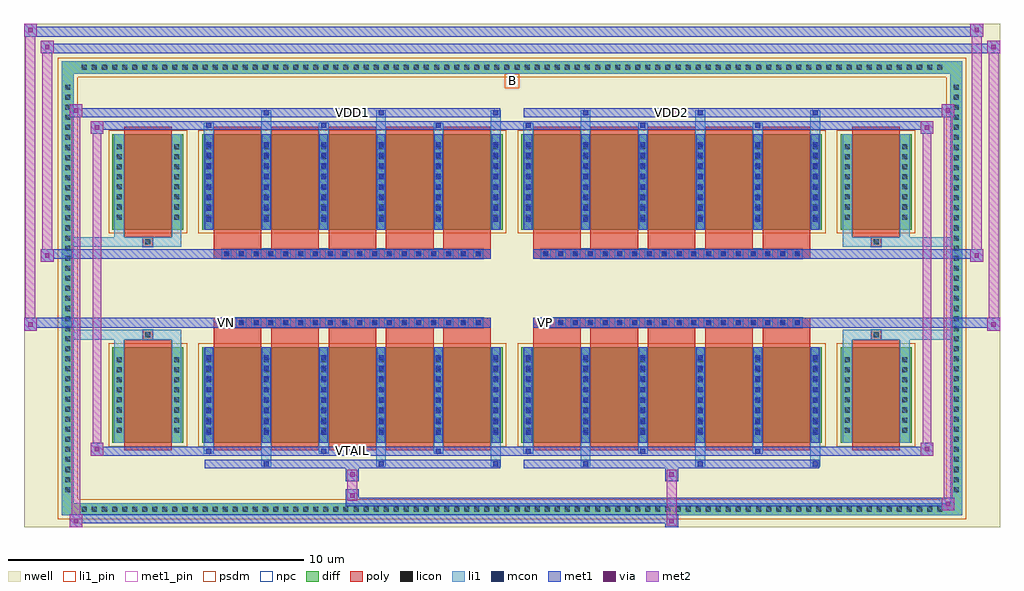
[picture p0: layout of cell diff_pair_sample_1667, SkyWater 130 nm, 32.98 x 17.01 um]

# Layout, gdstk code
import gdstk
lib = gdstk.Library(unit=1e-6, precision=5e-09)
def R(c, l, rs):  # rectangles x0, y0, x1, y1
    for r in rs: c.add(gdstk.rectangle(r[:2], r[2:], *l))
def A(c, l, x, y, w, h, nx, ny, dx, dy):  # array of equal rectangles
    R(c, l, [(x+i*dx, y+j*dy, x+i*dx+w, y+j*dy+h) for i in range(nx) for j in range(ny)])
def P(c, l, *ps):  # polygons
    for p in ps: c.add(gdstk.Polygon(p, *l))
nwell = (64, 20)
diff = (65, 20)
poly = (66, 20)
licon = (66, 44)
li1_pin = (67, 16)
li1 = (67, 20)
mcon = (67, 44)
met1_pin = (68, 16)
met1 = (68, 20)
via = (68, 44)
met2 = (69, 20)
psdm = (94, 20)
npc = (95, 20)

diff_pair_sample_1667 = lib.new_cell('diff_pair_sample_1667')
R(diff_pair_sample_1667, nwell, [(-16.49,-8.07,16.49,8.94), (-13.81,-6.26,-0.01,-0.8), (0.01,-6.26,13.81,-0.8), (-13.81,0.8,-0.01,6.26), (0.01,0.8,13.81,6.26)])
A(diff_pair_sample_1667, diff, -14.655, -7.67, 0.41, 0.41, 86, 2, 0.34, 14.93)
A(diff_pair_sample_1667, diff, -15.22, -7.005, 0.41, 0.41, 1, 41, 0, 0.34)
A(diff_pair_sample_1667, diff, 14.81, -7.005, 0.41, 0.41, 1, 41, 0, 0.34)
R(diff_pair_sample_1667, diff, [(-14.655,-7.67,14.655,-7.26), (-15.22,-7.005,-14.81,7.005), (14.81,-7.005,15.22,7.005), (-13.5,-5.215,-11.11,-1.985), (-10.47,-5.215,-0.32,-1.985), (0.32,-5.215,10.47,-1.985), (11.11,-5.215,13.5,-1.985), (-13.5,1.985,-11.11,5.215), (-10.47,1.985,-0.32,5.215), (0.32,1.985,10.47,5.215), (11.11,1.985,13.5,5.215), (-14.655,7.26,14.655,7.67)])
P(diff_pair_sample_1667, diff, [(15.22,7.67),(-15.22,7.67),(-15.22,-7.26),(-14.81,-7.26),(-14.81,7.26),(14.81,7.26),(14.81,-7.26),(-14.81,-7.26),(-15.22,-7.26),(-15.22,-7.67),(15.22,-7.67)])
A(diff_pair_sample_1667, poly, -10.08, -5.465, 1.61, 3.73, 5, 2, 1.94, 7.2)
A(diff_pair_sample_1667, poly, 0.71, -5.465, 1.61, 3.73, 5, 2, 1.94, 7.2)
A(diff_pair_sample_1667, poly, -10.08, -1.735, 1.61, 0.405, 5, 2, 1.94, 3.065)
A(diff_pair_sample_1667, poly, 0.71, -1.735, 1.61, 0.405, 5, 2, 1.94, 3.065)
A(diff_pair_sample_1667, poly, -9.81, -1.33, 0.33, 0.33, 18, 2, 0.5, 2.33)
A(diff_pair_sample_1667, poly, 0.98, -1.33, 0.33, 0.33, 18, 2, 0.5, 2.33)
R(diff_pair_sample_1667, poly, [(-13.11,-5.465,-11.5,-1.735), (11.5,-5.465,13.11,-1.735), (-12.47,-1.735,-12.14,-1.405), (-12.47,-1.735,-12.14,-1.405), (12.14,-1.735,12.47,-1.405), (12.14,-1.735,12.47,-1.405), (-10.08,-1.33,-0.71,-1), (0.71,-1.33,10.08,-1), (-10.08,1,-0.71,1.33), (0.71,1,10.08,1.33), (-12.47,1.405,-12.14,1.735), (-12.47,1.405,-12.14,1.735), (12.14,1.405,12.47,1.735), (12.14,1.405,12.47,1.735), (-13.11,1.735,-11.5,5.465), (11.5,1.735,13.11,5.465)])
A(diff_pair_sample_1667, licon, -14.535, -7.55, 0.17, 0.17, 86, 2, 0.34, 14.93)
A(diff_pair_sample_1667, licon, -15.1, -6.885, 0.17, 0.17, 1, 41, 0, 0.34)
A(diff_pair_sample_1667, licon, 14.93, -6.885, 0.17, 0.17, 1, 41, 0, 0.34)
A(diff_pair_sample_1667, licon, -13.36, -4.875, 0.17, 0.17, 1, 8, 0, 0.34)
A(diff_pair_sample_1667, licon, -11.42, -4.875, 0.17, 0.17, 1, 8, 0, 0.34)
A(diff_pair_sample_1667, licon, -10.33, -4.875, 0.17, 0.17, 6, 8, 1.94, 0.34)
A(diff_pair_sample_1667, licon, 0.46, -4.875, 0.17, 0.17, 6, 8, 1.94, 0.34)
A(diff_pair_sample_1667, licon, 11.25, -4.875, 0.17, 0.17, 1, 8, 0, 0.34)
A(diff_pair_sample_1667, licon, 13.19, -4.875, 0.17, 0.17, 1, 8, 0, 0.34)
A(diff_pair_sample_1667, licon, -9.73, -1.25, 0.17, 0.17, 18, 2, 0.5, 2.33)
A(diff_pair_sample_1667, licon, 1.06, -1.25, 0.17, 0.17, 18, 2, 0.5, 2.33)
A(diff_pair_sample_1667, licon, -13.36, 2.325, 0.17, 0.17, 1, 8, 0, 0.34)
A(diff_pair_sample_1667, licon, -11.42, 2.325, 0.17, 0.17, 1, 8, 0, 0.34)
A(diff_pair_sample_1667, licon, -10.33, 2.325, 0.17, 0.17, 6, 8, 1.94, 0.34)
A(diff_pair_sample_1667, licon, 0.46, 2.325, 0.17, 0.17, 6, 8, 1.94, 0.34)
A(diff_pair_sample_1667, licon, 11.25, 2.325, 0.17, 0.17, 1, 8, 0, 0.34)
A(diff_pair_sample_1667, licon, 13.19, 2.325, 0.17, 0.17, 1, 8, 0, 0.34)
R(diff_pair_sample_1667, licon, [(-12.39,-1.655,-12.22,-1.485), (12.22,-1.655,12.39,-1.485), (-12.39,1.485,-12.22,1.655), (12.22,1.485,12.39,1.655)])
R(diff_pair_sample_1667, li1_pin, [(-0.25,6.76,0.25,7.26)])
A(diff_pair_sample_1667, li1, -14.615, -7.63, 0.33, 0.33, 86, 2, 0.34, 14.93)
A(diff_pair_sample_1667, li1, -15.18, -6.965, 0.33, 0.33, 1, 41, 0, 0.34)
A(diff_pair_sample_1667, li1, 14.85, -6.965, 0.33, 0.33, 1, 41, 0, 0.34)
A(diff_pair_sample_1667, li1, -8.47, -6.02, 0.33, 0.805, 3, 2, 3.88, 11.235)
A(diff_pair_sample_1667, li1, -8.39, -6.02, 0.17, 0.17, 3, 2, 3.88, 11.87)
A(diff_pair_sample_1667, li1, 2.32, -6.02, 0.33, 0.805, 3, 2, 3.88, 11.235)
A(diff_pair_sample_1667, li1, 2.4, -6.02, 0.17, 0.17, 3, 2, 3.88, 11.87)
A(diff_pair_sample_1667, li1, -10.41, -5.59, 0.33, 0.375, 3, 2, 3.88, 10.805)
A(diff_pair_sample_1667, li1, -10.33, -5.59, 0.17, 0.17, 3, 2, 3.88, 11.01)
A(diff_pair_sample_1667, li1, 0.38, -5.59, 0.33, 0.375, 3, 2, 3.88, 10.805)
A(diff_pair_sample_1667, li1, 0.46, -5.59, 0.17, 0.17, 3, 2, 3.88, 11.01)
A(diff_pair_sample_1667, li1, -10.41, -5.215, 0.33, 3.23, 6, 2, 1.94, 7.2)
A(diff_pair_sample_1667, li1, 0.38, -5.215, 0.33, 3.23, 6, 2, 1.94, 7.2)
A(diff_pair_sample_1667, li1, -13.44, -4.955, 0.33, 0.33, 1, 8, 0, 0.34)
A(diff_pair_sample_1667, li1, -11.5, -4.955, 0.33, 0.33, 1, 8, 0, 0.34)
A(diff_pair_sample_1667, li1, -10.41, -4.955, 0.33, 0.33, 6, 8, 1.94, 0.34)
A(diff_pair_sample_1667, li1, 0.38, -4.955, 0.33, 0.33, 6, 8, 1.94, 0.34)
A(diff_pair_sample_1667, li1, 11.17, -4.955, 0.33, 0.33, 1, 8, 0, 0.34)
A(diff_pair_sample_1667, li1, 13.11, -4.955, 0.33, 0.33, 1, 8, 0, 0.34)
A(diff_pair_sample_1667, li1, -10.33, -4.945, 0.17, 0.17, 6, 8, 1.94, 0.36)
A(diff_pair_sample_1667, li1, -10.33, -4.945, 0.17, 2.69, 6, 2, 1.94, 7.2)
A(diff_pair_sample_1667, li1, 0.46, -4.945, 0.17, 0.17, 6, 8, 1.94, 0.36)
A(diff_pair_sample_1667, li1, 0.46, -4.945, 0.17, 2.69, 6, 2, 1.94, 7.2)
A(diff_pair_sample_1667, li1, -9.81, -1.33, 0.33, 0.33, 18, 2, 0.5, 2.33)
A(diff_pair_sample_1667, li1, 0.98, -1.33, 0.33, 0.33, 18, 2, 0.5, 2.33)
A(diff_pair_sample_1667, li1, -13.44, 2.245, 0.33, 0.33, 1, 8, 0, 0.34)
A(diff_pair_sample_1667, li1, -11.5, 2.245, 0.33, 0.33, 1, 8, 0, 0.34)
A(diff_pair_sample_1667, li1, -10.41, 2.245, 0.33, 0.33, 6, 8, 1.94, 0.34)
A(diff_pair_sample_1667, li1, 0.38, 2.245, 0.33, 0.33, 6, 8, 1.94, 0.34)
A(diff_pair_sample_1667, li1, 11.17, 2.245, 0.33, 0.33, 1, 8, 0, 0.34)
A(diff_pair_sample_1667, li1, 13.11, 2.245, 0.33, 0.33, 1, 8, 0, 0.34)
A(diff_pair_sample_1667, li1, -10.33, 2.255, 0.17, 0.17, 6, 8, 1.94, 0.36)
A(diff_pair_sample_1667, li1, 0.46, 2.255, 0.17, 0.17, 6, 8, 1.94, 0.36)
R(diff_pair_sample_1667, li1, [(-15.22,-7.67,-14.81,-7.26), (-15.22,-7.67,-14.81,-7.26), (-14.81,-7.67,14.81,-7.26), (14.81,-7.67,15.22,-7.26), (14.81,-7.67,15.22,-7.26), (-15.22,-7.26,-14.81,7.26), (14.81,-7.26,15.22,7.26), (-13.44,-5.215,-13.11,-1.985), (-11.5,-5.215,-11.17,-1.985), (11.17,-5.215,11.5,-1.985), (13.11,-5.215,13.44,-1.985), (-13.44,-1.985,-13.11,-1.405), (-11.5,-1.985,-11.17,-1.405), (11.17,-1.985,11.5,-1.405), (13.11,-1.985,13.44,-1.405), (-15.22,-1.735,-12.47,-1.405), (-13.44,-1.735,-12.47,-1.405), (-12.47,-1.735,-12.14,-1.405), (-12.14,-1.735,-11.17,-1.405), (11.17,-1.735,12.14,-1.405), (12.14,-1.735,12.47,-1.405), (12.14,-1.735,15.22,-1.405), (12.47,-1.735,13.44,-1.405), (-15.22,1.405,-12.47,1.735), (-13.44,1.405,-12.47,1.735), (-13.44,1.405,-13.11,1.985), (-12.47,1.405,-12.14,1.735), (-12.14,1.405,-11.17,1.735), (-11.5,1.405,-11.17,1.985), (11.17,1.405,12.14,1.735), (11.17,1.405,11.5,1.985), (12.14,1.405,12.47,1.735), (12.14,1.405,15.22,1.735), (12.47,1.405,13.44,1.735), (13.11,1.405,13.44,1.985), (-13.44,1.985,-13.11,5.215), (-11.5,1.985,-11.17,5.215), (11.17,1.985,11.5,5.215), (13.11,1.985,13.44,5.215), (-15.22,7.26,-14.81,7.67), (-15.22,7.26,-14.81,7.67), (-14.81,7.26,14.81,7.67), (14.81,7.26,15.22,7.67), (14.81,7.26,15.22,7.67)])
A(diff_pair_sample_1667, mcon, -8.39, -6.02, 0.17, 0.17, 3, 2, 3.88, 11.87)
A(diff_pair_sample_1667, mcon, 2.4, -6.02, 0.17, 0.17, 3, 2, 3.88, 11.87)
A(diff_pair_sample_1667, mcon, -10.33, -5.59, 0.17, 0.17, 3, 2, 3.88, 11.01)
A(diff_pair_sample_1667, mcon, 0.46, -5.59, 0.17, 0.17, 3, 2, 3.88, 11.01)
A(diff_pair_sample_1667, mcon, -10.33, -4.945, 0.17, 0.17, 6, 8, 1.94, 0.36)
A(diff_pair_sample_1667, mcon, 0.46, -4.945, 0.17, 0.17, 6, 8, 1.94, 0.36)
A(diff_pair_sample_1667, mcon, -9.73, -1.25, 0.17, 0.17, 18, 2, 0.5, 2.33)
A(diff_pair_sample_1667, mcon, 1.06, -1.25, 0.17, 0.17, 18, 2, 0.5, 2.33)
A(diff_pair_sample_1667, mcon, -10.33, 2.255, 0.17, 0.17, 6, 8, 1.94, 0.36)
A(diff_pair_sample_1667, mcon, 0.46, 2.255, 0.17, 0.17, 6, 8, 1.94, 0.36)
R(diff_pair_sample_1667, met1_pin, [(-5.53,-5.63,-5.26,-5.36), (-9.78,-1.29,-9.51,-1.02), (1.01,-1.29,1.28,-1.02), (-5.53,5.81,-5.26,6.08), (5.26,5.81,5.53,6.08)])
A(diff_pair_sample_1667, met1, -8.45, -6.08, 0.29, 0.29, 3, 2, 3.88, 11.87)
A(diff_pair_sample_1667, met1, 2.34, -6.08, 0.29, 0.29, 3, 2, 3.88, 11.87)
A(diff_pair_sample_1667, met1, -10.39, -5.65, 0.29, 0.29, 3, 2, 3.88, 11.01)
A(diff_pair_sample_1667, met1, 0.4, -5.65, 0.29, 0.29, 3, 2, 3.88, 11.01)
A(diff_pair_sample_1667, met1, -10.39, -5.215, 0.29, 3.23, 6, 2, 1.94, 7.2)
A(diff_pair_sample_1667, met1, 0.4, -5.215, 0.29, 3.23, 6, 2, 1.94, 7.2)
A(diff_pair_sample_1667, met1, -10.39, -5.005, 0.29, 0.29, 6, 8, 1.94, 0.36)
A(diff_pair_sample_1667, met1, 0.4, -5.005, 0.29, 0.29, 6, 8, 1.94, 0.36)
A(diff_pair_sample_1667, met1, -9.79, -1.31, 0.29, 0.29, 18, 2, 0.5, 2.33)
A(diff_pair_sample_1667, met1, 1, -1.31, 0.29, 0.29, 18, 2, 0.5, 2.33)
A(diff_pair_sample_1667, met1, -10.39, 2.195, 0.29, 0.29, 6, 8, 1.94, 0.36)
A(diff_pair_sample_1667, met1, 0.4, 2.195, 0.29, 0.29, 6, 8, 1.94, 0.36)
R(diff_pair_sample_1667, met1, [(-14.95,-8.07,-14.52,-7.64), (5.18,-8.07,5.61,-7.64), (-14.95,-7.93,5.61,-7.64), (14.52,-7.5,14.95,-7.07), (-5.61,-7.36,14.95,-7.07), (-5.61,-7.22,-5.18,-6.79), (-5.61,-6.51,-5.18,-6.08), (5.18,-6.51,5.61,-6.08), (-10.39,-6.08,-0.4,-5.79), (0.4,-6.08,10.39,-5.79), (-14.24,-5.65,-13.81,-5.22), (-14.24,-5.65,-10.39,-5.36), (-10.39,-5.65,-0.4,-5.36), (-0.4,-5.65,0.4,-5.36), (0.4,-5.65,10.39,-5.36), (10.39,-5.65,14.24,-5.36), (13.81,-5.65,14.24,-5.22), (-16.49,-1.43,-16.06,-1), (16.06,-1.43,16.49,-1), (-16.49,-1.33,-0.71,-1), (-10.08,-1.33,-0.71,-1), (0.71,-1.33,10.08,-1), (0.71,-1.33,16.49,-1), (-15.92,0.9,-15.49,1.33), (15.49,0.9,15.92,1.33), (-15.92,1,-10.08,1.33), (-10.08,1,-0.71,1.33), (0.71,1,10.08,1.33), (10.08,1,15.92,1.33), (-14.24,5.22,-13.81,5.65), (13.81,5.22,14.24,5.65), (-14.24,5.36,-10.39,5.65), (-10.39,5.36,-0.4,5.65), (-0.4,5.36,0.4,5.65), (0.4,5.36,10.39,5.65), (10.39,5.36,14.24,5.65), (-14.95,5.79,-14.52,6.22), (-14.95,5.79,-10.39,6.08), (-10.39,5.79,-0.4,6.08), (0.4,5.79,10.39,6.08), (10.39,5.79,14.95,6.08), (14.52,5.79,14.95,6.22), (-15.92,7.94,-15.49,8.37), (-15.92,7.94,-13.81,8.27), (-13.81,7.94,13.81,8.27), (13.81,7.94,16.49,8.27), (16.06,7.94,16.49,8.37), (-16.49,8.51,-16.06,8.94), (-16.49,8.51,-13.81,8.84), (-13.81,8.51,13.81,8.84), (13.81,8.51,15.92,8.84), (15.49,8.51,15.92,8.94)])
R(diff_pair_sample_1667, via, [(-14.81,-7.93,-14.66,-7.78), (5.32,-7.93,5.47,-7.78), (14.66,-7.36,14.81,-7.21), (-5.47,-7.08,-5.32,-6.93), (-5.47,-6.37,-5.32,-6.22), (5.32,-6.37,5.47,-6.22), (-14.1,-5.51,-13.95,-5.36), (13.95,-5.51,14.1,-5.36), (-16.35,-1.29,-16.2,-1.14), (16.2,-1.29,16.35,-1.14), (-15.78,1.04,-15.63,1.19), (15.63,1.04,15.78,1.19), (-14.1,5.36,-13.95,5.51), (13.95,5.36,14.1,5.51), (-14.81,5.93,-14.66,6.08), (14.66,5.93,14.81,6.08), (-15.78,8.08,-15.63,8.23), (16.2,8.08,16.35,8.23), (-16.35,8.65,-16.2,8.8), (15.63,8.65,15.78,8.8)])
R(diff_pair_sample_1667, met2, [(-14.95,-8.07,-14.52,-7.64), (-14.88,-8.07,-14.59,6.22), (-14.59,-8.07,-14.52,-7.64), (-14.9,-8.02,-14.57,-7.69), (5.23,-8.02,5.56,-7.69), (5.23,-7.69,5.56,-6.46), (14.52,-7.5,14.95,-7.07), (14.59,-7.5,14.88,6.22), (14.88,-7.5,14.95,-7.07), (14.57,-7.45,14.9,-7.12), (-5.56,-7.17,-5.23,-6.84), (-5.56,-6.84,-5.23,-6.46), (-5.56,-6.46,-5.23,-6.13), (5.23,-6.46,5.56,-6.13), (-14.24,-5.65,-13.81,-5.22), (-14.17,-5.65,-13.88,5.65), (-13.88,-5.65,-13.81,-5.22), (13.81,-5.65,14.24,-5.22), (13.88,-5.65,14.17,5.65), (14.17,-5.65,14.24,-5.22), (-14.19,-5.6,-13.86,-5.27), (13.86,-5.6,14.19,-5.27), (-16.49,-1.43,-16.06,-1), (-16.44,-1.43,-16.11,8.94), (-16.11,-1.43,-16.06,-1), (16.06,-1.43,16.49,-1), (16.11,-1.43,16.44,8.37), (16.44,-1.43,16.49,-1), (-16.44,-1.38,-16.11,-1.05), (16.11,-1.38,16.44,-1.05), (-15.92,0.9,-15.49,1.33), (-15.87,0.9,-15.54,8.37), (-15.54,0.9,-15.49,1.33), (15.49,0.9,15.92,1.33), (15.54,0.9,15.87,8.94), (15.87,0.9,15.92,1.33), (-15.87,0.95,-15.54,1.28), (15.54,0.95,15.87,1.28), (-14.24,5.22,-13.81,5.65), (-13.88,5.22,-13.81,5.65), (13.81,5.22,14.24,5.65), (14.17,5.22,14.24,5.65), (-14.19,5.27,-13.86,5.6), (13.86,5.27,14.19,5.6), (-14.95,5.79,-14.52,6.22), (-14.59,5.79,-14.52,6.22), (14.52,5.79,14.95,6.22), (14.88,5.79,14.95,6.22), (-14.9,5.84,-14.57,6.17), (14.57,5.84,14.9,6.17), (-15.92,7.94,-15.49,8.37), (-15.54,7.94,-15.49,8.37), (16.06,7.94,16.49,8.37), (16.44,7.94,16.49,8.37), (-15.87,7.99,-15.54,8.32), (16.11,7.99,16.44,8.32), (-16.49,8.51,-16.06,8.94), (-16.11,8.51,-16.06,8.94), (15.49,8.51,15.92,8.94), (15.87,8.51,15.92,8.94), (-16.44,8.56,-16.11,8.89), (15.54,8.56,15.87,8.89)])
R(diff_pair_sample_1667, psdm, [(-13.63,-5.345,-10.98,-1.855), (-10.6,-5.345,-0.19,-1.855), (0.19,-5.345,10.6,-1.855), (10.98,-5.345,13.63,-1.855), (-13.63,1.855,-10.98,5.345), (-10.6,1.855,-0.19,5.345), (0.19,1.855,10.6,5.345), (10.98,1.855,13.63,5.345)])
P(diff_pair_sample_1667, psdm, [(15.35,7.8),(-15.35,7.8),(-15.35,-7.13),(-14.68,-7.13),(-14.68,7.13),(14.68,7.13),(14.68,-7.13),(-14.68,-7.13),(-15.35,-7.13),(-15.35,-7.8),(15.35,-7.8)])
A(diff_pair_sample_1667, npc, -9.83, -1.35, 0.37, 0.37, 18, 2, 0.5, 2.33)
A(diff_pair_sample_1667, npc, 0.96, -1.35, 0.37, 0.37, 18, 2, 0.5, 2.33)
R(diff_pair_sample_1667, npc, [(-12.49,-1.755,-12.12,-1.385), (12.12,-1.755,12.49,-1.385), (-9.83,-1.35,-8.96,-0.98), (-9.83,-1.35,-8.96,-0.98), (-9.33,-1.35,-8.46,-0.98), (-9.33,-1.35,-8.46,-0.98), (-8.83,-1.35,-7.96,-0.98), (-8.83,-1.35,-7.96,-0.98), (-8.33,-1.35,-7.46,-0.98), (-8.33,-1.35,-7.46,-0.98), (-7.83,-1.35,-6.96,-0.98), (-7.83,-1.35,-6.96,-0.98), (-7.33,-1.35,-6.46,-0.98), (-7.33,-1.35,-6.46,-0.98), (-6.83,-1.35,-5.96,-0.98), (-6.83,-1.35,-5.96,-0.98), (-6.33,-1.35,-5.46,-0.98), (-6.33,-1.35,-5.46,-0.98), (-5.83,-1.35,-4.96,-0.98), (-5.83,-1.35,-4.96,-0.98), (-5.33,-1.35,-4.46,-0.98), (-5.33,-1.35,-4.46,-0.98), (-4.83,-1.35,-3.96,-0.98), (-4.83,-1.35,-3.96,-0.98), (-4.33,-1.35,-3.46,-0.98), (-4.33,-1.35,-3.46,-0.98), (-3.83,-1.35,-2.96,-0.98), (-3.83,-1.35,-2.96,-0.98), (-3.33,-1.35,-2.46,-0.98), (-3.33,-1.35,-2.46,-0.98), (-2.83,-1.35,-1.96,-0.98), (-2.83,-1.35,-1.96,-0.98), (-2.33,-1.35,-1.46,-0.98), (-2.33,-1.35,-1.46,-0.98), (-1.83,-1.35,-0.96,-0.98), (-1.83,-1.35,-0.96,-0.98), (0.96,-1.35,1.83,-0.98), (0.96,-1.35,1.83,-0.98), (1.46,-1.35,2.33,-0.98), (1.46,-1.35,2.33,-0.98), (1.96,-1.35,2.83,-0.98), (1.96,-1.35,2.83,-0.98), (2.46,-1.35,3.33,-0.98), (2.46,-1.35,3.33,-0.98), (2.96,-1.35,3.83,-0.98), (2.96,-1.35,3.83,-0.98), (3.46,-1.35,4.33,-0.98), (3.46,-1.35,4.33,-0.98), (3.96,-1.35,4.83,-0.98), (3.96,-1.35,4.83,-0.98), (4.46,-1.35,5.33,-0.98), (4.46,-1.35,5.33,-0.98), (4.96,-1.35,5.83,-0.98), (4.96,-1.35,5.83,-0.98), (5.46,-1.35,6.33,-0.98), (5.46,-1.35,6.33,-0.98), (5.96,-1.35,6.83,-0.98), (5.96,-1.35,6.83,-0.98), (6.46,-1.35,7.33,-0.98), (6.46,-1.35,7.33,-0.98), (6.96,-1.35,7.83,-0.98), (6.96,-1.35,7.83,-0.98), (7.46,-1.35,8.33,-0.98), (7.46,-1.35,8.33,-0.98), (7.96,-1.35,8.83,-0.98), (7.96,-1.35,8.83,-0.98), (8.46,-1.35,9.33,-0.98), (8.46,-1.35,9.33,-0.98), (8.96,-1.35,9.83,-0.98), (8.96,-1.35,9.83,-0.98), (-9.83,0.98,-8.96,1.35), (-9.83,0.98,-8.96,1.35), (-9.33,0.98,-8.46,1.35), (-9.33,0.98,-8.46,1.35), (-8.83,0.98,-7.96,1.35), (-8.83,0.98,-7.96,1.35), (-8.33,0.98,-7.46,1.35), (-8.33,0.98,-7.46,1.35), (-7.83,0.98,-6.96,1.35), (-7.83,0.98,-6.96,1.35), (-7.33,0.98,-6.46,1.35), (-7.33,0.98,-6.46,1.35), (-6.83,0.98,-5.96,1.35), (-6.83,0.98,-5.96,1.35), (-6.33,0.98,-5.46,1.35), (-6.33,0.98,-5.46,1.35), (-5.83,0.98,-4.96,1.35), (-5.83,0.98,-4.96,1.35), (-5.33,0.98,-4.46,1.35), (-5.33,0.98,-4.46,1.35), (-4.83,0.98,-3.96,1.35), (-4.83,0.98,-3.96,1.35), (-4.33,0.98,-3.46,1.35), (-4.33,0.98,-3.46,1.35), (-3.83,0.98,-2.96,1.35), (-3.83,0.98,-2.96,1.35), (-3.33,0.98,-2.46,1.35), (-3.33,0.98,-2.46,1.35), (-2.83,0.98,-1.96,1.35), (-2.83,0.98,-1.96,1.35), (-2.33,0.98,-1.46,1.35), (-2.33,0.98,-1.46,1.35), (-1.83,0.98,-0.96,1.35), (-1.83,0.98,-0.96,1.35), (0.96,0.98,1.83,1.35), (0.96,0.98,1.83,1.35), (1.46,0.98,2.33,1.35), (1.46,0.98,2.33,1.35), (1.96,0.98,2.83,1.35), (1.96,0.98,2.83,1.35), (2.46,0.98,3.33,1.35), (2.46,0.98,3.33,1.35), (2.96,0.98,3.83,1.35), (2.96,0.98,3.83,1.35), (3.46,0.98,4.33,1.35), (3.46,0.98,4.33,1.35), (3.96,0.98,4.83,1.35), (3.96,0.98,4.83,1.35), (4.46,0.98,5.33,1.35), (4.46,0.98,5.33,1.35), (4.96,0.98,5.83,1.35), (4.96,0.98,5.83,1.35), (5.46,0.98,6.33,1.35), (5.46,0.98,6.33,1.35), (5.96,0.98,6.83,1.35), (5.96,0.98,6.83,1.35), (6.46,0.98,7.33,1.35), (6.46,0.98,7.33,1.35), (6.96,0.98,7.83,1.35), (6.96,0.98,7.83,1.35), (7.46,0.98,8.33,1.35), (7.46,0.98,8.33,1.35), (7.96,0.98,8.83,1.35), (7.96,0.98,8.83,1.35), (8.46,0.98,9.33,1.35), (8.46,0.98,9.33,1.35), (8.96,0.98,9.83,1.35), (8.96,0.98,9.83,1.35), (-12.49,1.385,-12.12,1.755), (12.12,1.385,12.49,1.755)])
diff_pair_sample_1667.add(gdstk.Label('VTAIL', (-5.395,-5.495), layer=68, texttype=5))
diff_pair_sample_1667.add(gdstk.Label('VN', (-9.645,-1.155), layer=68, texttype=5))
diff_pair_sample_1667.add(gdstk.Label('VP', (1.145,-1.155), layer=68, texttype=5))
diff_pair_sample_1667.add(gdstk.Label('B', (0,7.01), layer=67, texttype=5))
diff_pair_sample_1667.add(gdstk.Label('VDD2', (5.395,5.945), layer=68, texttype=5))
diff_pair_sample_1667.add(gdstk.Label('VDD1', (-5.395,5.945), layer=68, texttype=5))

lib.write_gds('diff_pair_sample_1667.gds')
